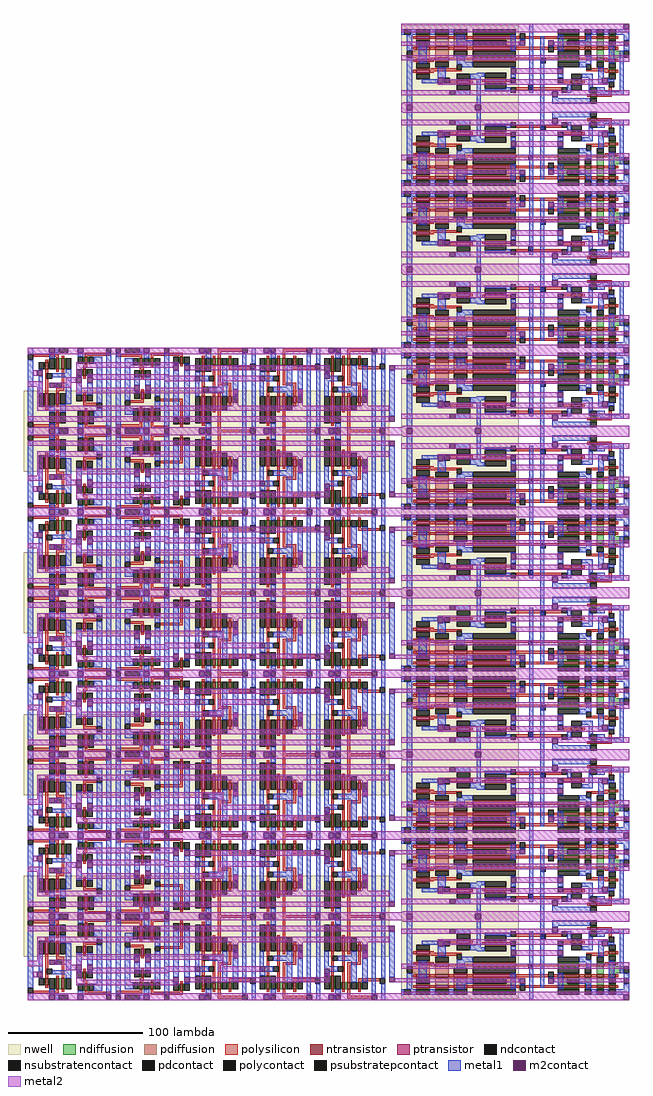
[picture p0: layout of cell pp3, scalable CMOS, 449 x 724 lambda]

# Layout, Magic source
magic
tech scmos
use adder2 adder2_1
transform -1 0 444 0 1 600
box -2 0 167 124
use adder2 adder2_0
transform -1 0 444 0 1 480
box -2 0 167 124
use pp3tile pp3tile_3
transform 1 0 0 0 1 360
box -3 0 446 124
use pp3tile pp3tile_2
transform 1 0 0 0 1 240
box -3 0 446 124
use pp3tile pp3tile_1
transform 1 0 0 0 1 120
box -3 0 446 124
use pp3tile pp3tile_0
transform 1 0 0 0 1 0
box -3 0 446 124
<< end >>

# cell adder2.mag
magic
tech scmos
<< polycontact >>
rect 60 95 64 99
rect 69 75 73 79
rect 60 45 64 49
rect 69 23 73 27
use fulladd fulladd_1
transform 1 0 -42 0 -1 97
box 40 -27 209 37
use fulladd fulladd_0
transform 1 0 -42 0 1 27
box 40 -27 209 37
<< end >>

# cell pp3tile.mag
magic
tech scmos
<< metal1 >>
rect 268 73 272 107
rect 268 17 272 51
<< metal2 >>
rect 267 119 278 124
rect 272 108 278 111
rect 0 69 41 73
rect 120 69 268 73
rect 267 59 278 65
rect 0 51 41 55
rect 120 51 268 55
rect 272 13 279 16
rect 267 0 278 5
<< m2contact >>
rect 268 107 272 111
rect 268 69 272 73
rect 268 51 272 55
rect 268 13 272 17
use latchmuxand latchmuxand_1
transform -1 0 178 0 -1 208
box -90 84 181 148
use latchmuxand latchmuxand_0
transform -1 0 178 0 1 -84
box -90 84 181 148
use adder2 adder2_0
transform -1 0 444 0 1 0
box -2 0 167 124
<< end >>

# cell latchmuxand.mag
magic
tech scmos
<< metal2 >>
rect -90 127 57 131
rect 142 127 171 131
rect -74 115 -70 127
rect -26 115 -22 127
rect 22 115 26 127
rect 33 114 57 118
rect 33 109 37 114
rect 167 113 171 127
rect 167 109 178 113
rect 6 105 37 109
rect 54 105 57 109
rect -46 101 -42 103
rect -46 97 57 101
<< m2contact >>
rect -46 103 -42 107
rect 2 105 6 109
rect 50 105 54 109
use datapathLatch datapathLatch_0
transform 1 0 -89 0 1 84
box -1 0 50 64
use datapathLatch datapathLatch_1
transform 1 0 -41 0 1 84
box -1 0 50 64
use datapathLatch datapathLatch_2
transform 1 0 7 0 1 84
box -1 0 50 64
use 3to1mux 3to1mux_0
transform 1 0 71 0 1 84
box -16 0 74 64
use and2 and2_0
transform 1 0 66 0 1 77
box 77 7 115 71
<< end >>

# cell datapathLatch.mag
magic
tech scmos
<< nwell >>
rect -1 32 50 64
<< polysilicon >>
rect 6 61 30 63
rect 28 46 30 61
rect 40 56 42 58
rect 32 46 34 48
rect 20 41 22 43
rect 20 28 22 36
rect 28 34 30 36
rect 20 26 30 28
rect 6 14 22 16
rect 20 13 22 14
rect 28 13 30 26
rect 32 25 34 36
rect 40 33 42 36
rect 41 29 42 33
rect 32 21 33 25
rect 32 13 34 21
rect 40 18 42 29
rect 20 6 22 8
rect 28 3 30 8
rect 32 6 34 8
rect 40 6 42 8
rect 12 1 30 3
<< ndiffusion >>
rect 19 8 20 13
rect 22 8 23 13
rect 27 8 28 13
rect 30 8 32 13
rect 34 8 35 13
rect 39 8 40 18
rect 42 8 43 18
<< pdiffusion >>
rect 19 36 20 41
rect 22 36 23 41
rect 27 36 28 46
rect 30 36 32 46
rect 34 36 35 46
rect 39 36 40 56
rect 42 36 43 56
<< metal1 >>
rect 2 16 5 60
rect 2 0 5 12
rect 9 4 12 64
rect 39 60 40 64
rect 35 56 39 60
rect 15 35 19 36
rect 15 13 19 31
rect 23 33 27 36
rect 23 29 37 33
rect 23 13 27 29
rect 44 25 47 36
rect 37 21 47 25
rect 43 18 47 21
rect 35 4 39 8
rect 39 0 40 4
<< metal2 >>
rect -1 60 40 64
rect 44 60 50 64
rect -1 59 50 60
rect -1 4 50 5
rect -1 0 40 4
rect 44 0 50 4
<< ntransistor >>
rect 20 8 22 13
rect 28 8 30 13
rect 32 8 34 13
rect 40 8 42 18
<< ptransistor >>
rect 20 36 22 41
rect 28 36 30 46
rect 32 36 34 46
rect 40 36 42 56
<< polycontact >>
rect 2 60 6 64
rect 2 12 6 16
rect 37 29 41 33
rect 33 21 37 25
rect 8 0 12 4
<< ndcontact >>
rect 15 8 19 13
rect 23 8 27 13
rect 35 8 39 18
rect 43 8 47 18
<< pdcontact >>
rect 15 36 19 41
rect 23 36 27 46
rect 35 36 39 56
rect 43 36 47 56
<< m2contact >>
rect 40 60 44 64
rect 15 31 19 35
rect 40 0 44 4
<< psubstratepcontact >>
rect 35 0 39 4
<< nsubstratencontact >>
rect 35 60 39 64
<< labels >>
rlabel metal2 34 2 34 2 1 Gnd
rlabel metal1 11 21 11 21 1 Phi_b
rlabel metal1 3 22 3 22 1 Phi
rlabel metal2 31 61 31 61 1 Vdd
rlabel metal1 17 22 17 22 1 In
rlabel metal1 46 30 46 30 1 Out_b
<< end >>

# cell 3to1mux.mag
magic
tech scmos
<< nwell >>
rect -16 32 74 64
<< polysilicon >>
rect -8 57 -6 59
rect 2 58 16 60
rect 38 59 42 60
rect 14 55 16 58
rect 22 57 42 59
rect 45 58 65 60
rect 63 57 65 58
rect 22 55 24 57
rect -8 40 -6 52
rect 63 45 65 47
rect 14 43 16 45
rect 22 43 24 45
rect -8 38 9 40
rect 21 39 31 41
rect 56 41 66 43
rect 64 40 66 41
rect 21 38 23 39
rect 64 33 66 35
rect 21 31 23 33
rect 21 22 23 24
rect 64 21 66 23
rect 21 16 23 17
rect -8 12 -6 14
rect 14 13 16 15
rect 21 14 24 16
rect 64 15 66 16
rect 22 13 24 14
rect 63 13 66 15
rect 63 12 65 13
rect -8 6 -6 7
rect 14 6 16 8
rect -8 4 16 6
rect 22 7 24 8
rect 22 5 42 7
rect 63 6 65 7
rect 38 4 42 5
rect 45 4 65 6
<< ndiffusion >>
rect 20 17 21 22
rect 23 17 24 22
rect 63 16 64 21
rect 66 16 67 21
rect -9 7 -8 12
rect -6 7 -5 12
rect 13 8 14 13
rect 16 8 17 13
rect 21 8 22 13
rect 24 8 25 13
rect 62 7 63 12
rect 65 7 66 12
<< pdiffusion >>
rect -9 52 -8 57
rect -6 52 -5 57
rect 13 45 14 55
rect 16 45 17 55
rect 21 45 22 55
rect 24 45 25 55
rect 62 47 63 57
rect 65 47 66 57
rect 20 33 21 38
rect 23 33 24 38
rect 63 35 64 40
rect 66 35 67 40
<< metal1 >>
rect -13 17 -9 52
rect -13 12 -9 13
rect -5 17 -1 52
rect -5 12 -1 13
rect 2 4 6 60
rect 21 60 24 64
rect 17 55 21 60
rect 29 45 35 50
rect 9 40 13 45
rect 31 43 35 45
rect 9 13 13 36
rect 16 32 20 33
rect 16 22 20 28
rect 24 32 28 33
rect 24 22 28 28
rect 31 13 35 39
rect 29 8 35 13
rect 17 4 21 8
rect 38 4 42 60
rect 21 0 24 4
rect 45 4 49 60
rect 66 57 70 60
rect 52 47 58 52
rect 52 45 56 47
rect 52 12 56 41
rect 59 26 63 35
rect 59 21 63 22
rect 67 26 71 35
rect 67 21 71 22
rect 52 7 58 12
rect 66 4 70 7
<< metal2 >>
rect -15 60 17 64
rect 21 60 66 64
rect 70 60 73 64
rect -15 59 73 60
rect -14 51 71 55
rect -14 43 71 47
rect -14 32 20 34
rect -14 30 16 32
rect 24 32 71 34
rect 28 30 71 32
rect 67 26 71 30
rect -14 24 6 25
rect -14 22 59 24
rect -14 21 63 22
rect 3 20 63 21
rect 71 22 72 26
rect -14 13 -13 17
rect 67 15 71 22
rect -1 13 71 15
rect -5 11 71 13
rect -15 4 73 5
rect -15 0 17 4
rect 21 0 66 4
rect 70 0 73 4
<< ntransistor >>
rect 21 17 23 22
rect 64 16 66 21
rect -8 7 -6 12
rect 14 8 16 13
rect 22 8 24 13
rect 63 7 65 12
<< ptransistor >>
rect -8 52 -6 57
rect 14 45 16 55
rect 22 45 24 55
rect 63 47 65 57
rect 21 33 23 38
rect 64 35 66 40
<< polycontact >>
rect 2 60 6 64
rect 38 60 42 64
rect 45 60 49 64
rect 9 36 13 40
rect 31 39 35 43
rect 52 41 56 45
rect 2 0 6 4
rect 38 0 42 4
rect 45 0 49 4
<< ndcontact >>
rect 16 17 20 22
rect 24 17 28 22
rect 59 16 63 21
rect 67 16 71 21
rect -13 7 -9 12
rect -5 7 -1 12
rect 9 8 13 13
rect 17 8 21 13
rect 25 8 29 13
rect 58 7 62 12
rect 66 7 70 12
<< pdcontact >>
rect -13 52 -9 57
rect -5 52 -1 57
rect 9 45 13 55
rect 17 45 21 55
rect 25 45 29 55
rect 58 47 62 57
rect 66 47 70 57
rect 16 33 20 38
rect 24 33 28 38
rect 59 35 63 40
rect 67 35 71 40
<< m2contact >>
rect -13 13 -9 17
rect -5 13 -1 17
rect 17 60 21 64
rect 16 28 20 32
rect 24 28 28 32
rect 17 0 21 4
rect 66 60 70 64
rect 59 22 63 26
rect 67 22 71 26
rect 66 0 70 4
<< psubstratepcontact >>
rect 24 0 35 4
<< nsubstratencontact >>
rect 24 60 35 64
<< labels >>
rlabel metal2 -9 62 -9 62 5 Vdd
rlabel metal2 -9 2 -9 2 1 Gnd
rlabel metal2 -13 53 -13 53 7 Ex1
rlabel metal2 -13 45 -13 45 7 Ex2
rlabel metal2 -13 32 -13 32 7 In1
rlabel metal2 -13 23 -13 23 7 In2
rlabel metal2 -13 15 -13 15 7 In0
rlabel metal2 71 24 71 24 3 Out
rlabel polycontact 4 2 4 2 5 cntrl0
rlabel polycontact 40 2 40 2 5 cntrl1
rlabel polycontact 47 2 47 2 5 cntrl2
<< end >>

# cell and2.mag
magic
tech scmos
<< nwell >>
rect 77 39 115 71
<< polysilicon >>
rect 89 64 108 66
rect 89 63 91 64
rect 89 53 91 55
rect 97 51 99 53
rect 89 49 91 51
rect 89 39 91 41
rect 85 37 91 39
rect 85 23 87 37
rect 97 30 99 41
rect 98 26 99 30
rect 89 23 91 25
rect 97 23 99 26
rect 97 16 99 18
rect 85 13 87 15
rect 89 14 91 15
rect 89 12 108 14
<< ndiffusion >>
rect 84 15 85 23
rect 87 15 89 23
rect 91 15 92 23
rect 96 18 97 23
rect 99 18 100 23
<< pdiffusion >>
rect 88 55 89 63
rect 91 55 92 63
rect 88 41 89 49
rect 91 41 92 49
rect 96 41 97 51
rect 99 41 100 51
<< metal1 >>
rect 89 67 92 71
rect 92 63 96 67
rect 84 49 88 55
rect 80 29 84 49
rect 92 51 96 55
rect 108 66 112 71
rect 91 33 92 37
rect 80 26 94 29
rect 101 28 104 41
rect 80 23 84 26
rect 101 23 104 24
rect 92 11 96 15
rect 89 7 92 11
rect 108 16 112 62
rect 108 7 112 12
<< metal2 >>
rect 77 67 92 71
rect 96 67 112 71
rect 77 66 112 67
rect 80 33 92 37
rect 77 29 84 33
rect 105 24 108 28
rect 77 11 112 12
rect 77 7 92 11
rect 96 7 112 11
<< ntransistor >>
rect 85 15 87 23
rect 89 15 91 23
rect 97 18 99 23
<< ptransistor >>
rect 89 55 91 63
rect 89 41 91 49
rect 97 41 99 51
<< polycontact >>
rect 108 62 112 66
rect 87 33 91 37
rect 94 26 98 30
rect 108 12 112 16
<< ndcontact >>
rect 80 15 84 23
rect 92 15 96 23
rect 100 18 104 23
<< pdcontact >>
rect 84 55 88 63
rect 92 55 96 63
rect 84 41 88 49
rect 92 41 96 51
rect 100 41 104 51
<< m2contact >>
rect 92 67 96 71
rect 92 33 96 37
rect 101 24 105 28
rect 92 7 96 11
<< psubstratepcontact >>
rect 82 7 89 11
<< nsubstratencontact >>
rect 82 67 89 71
<< labels >>
rlabel metal2 100 9 100 9 5 Gnd
rlabel metal2 101 69 101 69 1 Vdd
rlabel metal2 80 31 80 31 7 FromMux
rlabel metal2 106 26 106 26 3 ToAdd
rlabel metal1 110 9 110 9 5 PixBit
<< end >>

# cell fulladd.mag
magic
tech scmos
<< nwell >>
rect 122 -26 209 37
<< polysilicon >>
rect 53 25 64 27
rect 69 25 71 27
rect 53 20 55 25
rect 90 20 124 22
rect 73 15 75 17
rect 83 15 89 17
rect 128 14 131 16
rect 147 14 149 16
rect 156 15 158 17
rect 168 15 173 17
rect 48 7 50 9
rect 55 8 58 9
rect 185 8 188 9
rect 55 7 72 8
rect 56 6 68 7
rect 164 7 188 8
rect 198 7 200 9
rect 48 -1 50 1
rect 55 0 58 1
rect 168 6 187 7
rect 185 0 188 1
rect 55 -1 59 0
rect 56 -2 59 -1
rect 64 -2 77 0
rect 93 -2 124 0
rect 156 -2 174 0
rect 184 -1 188 0
rect 198 -1 200 1
rect 184 -2 187 -1
rect 48 -10 50 -8
rect 55 -10 59 -8
rect 64 -10 68 -8
rect 73 -10 77 -8
rect 93 -10 96 -8
rect 100 -10 124 -8
rect 156 -10 160 -8
rect 170 -10 174 -8
rect 184 -10 188 -8
rect 198 -10 200 -8
rect 48 -18 50 -16
rect 55 -18 59 -16
rect 64 -18 68 -16
rect 73 -18 77 -16
rect 93 -18 117 -16
rect 121 -18 124 -16
rect 156 -18 160 -16
rect 170 -18 174 -16
rect 184 -18 188 -16
rect 198 -18 200 -16
<< ndiffusion >>
rect 64 27 69 28
rect 64 24 69 25
rect 75 17 83 18
rect 75 14 83 15
rect 50 9 55 10
rect 50 6 55 7
rect 50 1 55 2
rect 59 0 64 1
rect 77 0 93 1
rect 50 -2 55 -1
rect 44 -7 55 -2
rect 50 -8 55 -7
rect 59 -8 64 -2
rect 77 -3 93 -2
rect 68 -8 73 -7
rect 77 -8 93 -7
rect 50 -11 55 -10
rect 50 -16 55 -15
rect 59 -16 64 -10
rect 68 -16 73 -10
rect 77 -11 93 -10
rect 86 -15 93 -11
rect 77 -16 93 -15
rect 50 -19 55 -18
rect 59 -19 64 -18
rect 68 -19 73 -18
rect 77 -19 93 -18
<< pdiffusion >>
rect 158 17 168 18
rect 131 16 147 17
rect 158 14 168 15
rect 131 13 147 14
rect 188 9 198 10
rect 188 6 198 7
rect 124 0 156 1
rect 188 1 198 2
rect 174 0 184 1
rect 188 -2 198 -1
rect 124 -3 156 -2
rect 124 -8 156 -7
rect 160 -8 170 -7
rect 174 -8 184 -2
rect 188 -7 201 -2
rect 188 -8 198 -7
rect 124 -11 156 -10
rect 124 -15 131 -11
rect 124 -16 156 -15
rect 160 -16 170 -10
rect 174 -16 184 -10
rect 188 -11 198 -10
rect 188 -16 198 -15
rect 124 -19 156 -18
rect 160 -19 170 -18
rect 174 -19 184 -18
rect 188 -19 198 -18
<< metal1 >>
rect 69 28 97 32
rect 93 27 97 28
rect 44 24 61 26
rect 44 23 64 24
rect 44 -7 47 23
rect 58 20 64 23
rect 69 20 70 24
rect 55 16 56 17
rect 51 14 56 16
rect 55 13 56 14
rect 60 13 63 17
rect 40 -11 44 -7
rect 51 -11 55 2
rect 59 5 63 13
rect 67 13 70 20
rect 83 18 86 24
rect 67 10 75 13
rect 89 10 93 13
rect 89 5 93 6
rect 72 3 77 5
rect 68 1 77 3
rect 68 -3 72 1
rect 68 -15 77 -11
rect 40 -19 44 -15
rect 68 -19 72 -15
rect 89 -19 93 -7
rect 96 -11 100 -10
rect 103 -18 106 37
rect 40 -23 50 -19
rect 55 -23 59 -19
rect 64 -23 68 -19
rect 111 -27 114 24
rect 128 21 147 23
rect 128 20 131 21
rect 150 14 153 33
rect 158 22 169 26
rect 124 10 128 13
rect 150 12 158 14
rect 147 10 158 12
rect 177 13 178 17
rect 182 14 194 17
rect 147 9 153 10
rect 124 5 128 6
rect 156 3 164 5
rect 176 5 182 13
rect 156 1 168 3
rect 162 -3 168 1
rect 117 -16 121 -15
rect 124 -19 128 -7
rect 190 -11 196 2
rect 201 -2 205 33
rect 156 -15 168 -11
rect 162 -19 168 -15
rect 201 -19 205 -7
rect 170 -23 174 -19
rect 184 -23 188 -19
rect 198 -23 202 -19
rect 207 -23 209 -19
<< metal2 >>
rect 40 33 150 37
rect 154 33 201 37
rect 205 33 209 37
rect 40 32 209 33
rect 40 31 208 32
rect 40 23 93 26
rect 97 23 169 26
rect 40 22 169 23
rect 173 22 209 26
rect 56 17 182 18
rect 60 14 178 17
rect 93 6 124 10
rect 40 0 55 1
rect 40 -4 209 0
rect 40 -14 96 -11
rect 121 -14 209 -11
rect 40 -23 209 -21
rect 44 -27 209 -23
<< ntransistor >>
rect 64 25 69 27
rect 75 15 83 17
rect 50 7 55 9
rect 50 -1 55 1
rect 59 -2 64 0
rect 77 -2 93 0
rect 50 -10 55 -8
rect 59 -10 64 -8
rect 68 -10 73 -8
rect 77 -10 93 -8
rect 50 -18 55 -16
rect 59 -18 64 -16
rect 68 -18 73 -16
rect 77 -18 93 -16
<< ptransistor >>
rect 131 14 147 16
rect 158 15 168 17
rect 188 7 198 9
rect 124 -2 156 0
rect 174 -2 184 0
rect 188 -1 198 1
rect 124 -10 156 -8
rect 160 -10 170 -8
rect 174 -10 184 -8
rect 188 -10 198 -8
rect 124 -18 156 -16
rect 160 -18 170 -16
rect 174 -18 184 -16
rect 188 -18 198 -16
<< polycontact >>
rect 51 16 55 20
rect 86 20 90 24
rect 124 20 128 24
rect 89 13 93 17
rect 124 13 128 17
rect 173 13 177 17
rect 68 3 72 7
rect 164 3 168 7
rect 96 -10 100 -6
rect 117 -20 121 -16
<< ndcontact >>
rect 64 28 69 32
rect 64 20 69 24
rect 75 18 83 22
rect 50 10 55 14
rect 75 10 83 14
rect 50 2 55 6
rect 59 1 64 5
rect 77 1 93 5
rect 40 -7 44 -2
rect 68 -7 73 -3
rect 77 -7 93 -3
rect 50 -15 55 -11
rect 77 -15 86 -11
rect 50 -23 55 -19
rect 59 -23 64 -19
rect 68 -23 73 -19
rect 77 -23 93 -19
<< pdcontact >>
rect 131 17 147 21
rect 158 18 168 22
rect 131 9 147 13
rect 158 10 168 14
rect 188 10 198 14
rect 124 1 156 5
rect 174 1 184 5
rect 188 2 198 6
rect 124 -7 156 -3
rect 160 -7 170 -3
rect 201 -7 205 -2
rect 131 -15 156 -11
rect 188 -15 198 -11
rect 124 -23 156 -19
rect 160 -23 170 -19
rect 174 -23 184 -19
rect 188 -23 198 -19
<< m2contact >>
rect 56 13 60 17
rect 93 23 97 27
rect 89 6 93 10
rect 96 -15 100 -11
rect 150 33 154 37
rect 201 33 205 37
rect 40 -27 44 -23
rect 169 22 173 26
rect 124 6 128 10
rect 178 13 182 17
rect 117 -15 121 -11
<< psubstratepcontact >>
rect 40 -15 44 -11
<< nsubstratencontact >>
rect 202 -23 207 -19
<< labels >>
rlabel polysilicon 99 20 99 20 1 Cout
rlabel polysilicon 98 -1 98 -1 1 Cin
rlabel metal2 47 -25 47 -25 1 Gnd
rlabel metal2 47 -13 47 -13 1 A
rlabel metal2 47 34 47 34 5 Vdd
rlabel metal2 167 16 167 16 1 Sum_b
rlabel metal2 207 -13 207 -13 7 B
rlabel metal2 207 -2 207 -2 7 Random
rlabel metal2 207 24 207 24 7 Sum
<< end >>
